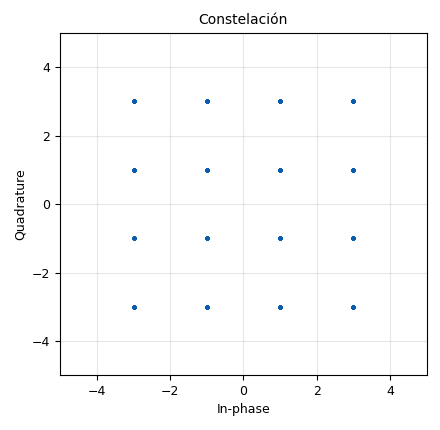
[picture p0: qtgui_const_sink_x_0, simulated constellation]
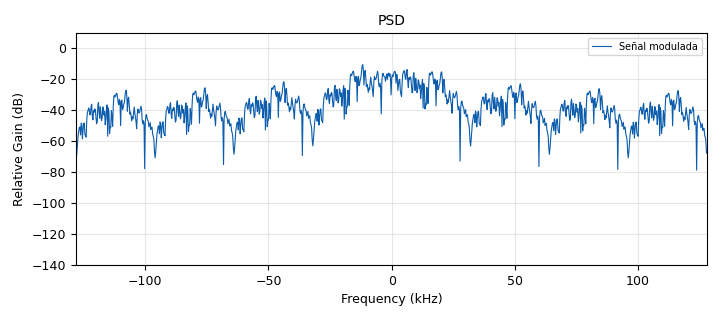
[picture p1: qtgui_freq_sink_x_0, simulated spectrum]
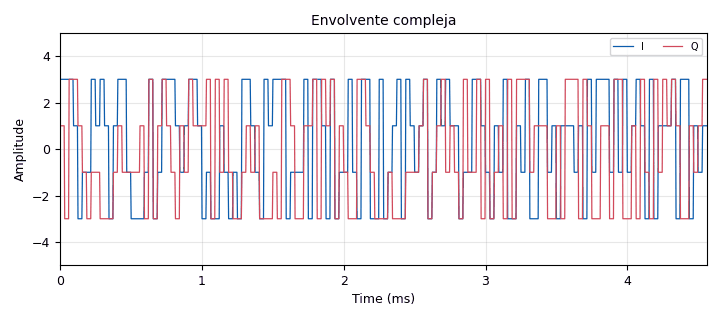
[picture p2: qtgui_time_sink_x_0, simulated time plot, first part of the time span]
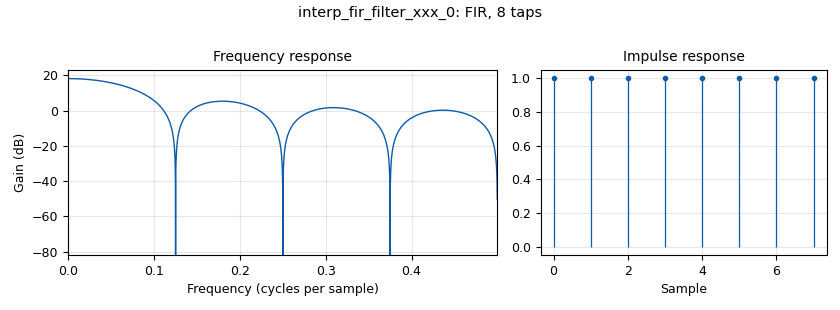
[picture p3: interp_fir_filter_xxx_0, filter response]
options:
  parameters:
    comment: GRC conceptual para OOK ASK BPSK QPSK 8PSK y 16QAM
    description: GRC conceptual para OOK ASK BPSK QPSK 8PSK y 16QAM
    generate_options: qt_gui
    id: Modulaciones_basadas_en_constelaciones
    output_language: python
    title: Modulaciones basadas en constelaciones
  states: {}

blocks:
- name: M
  id: variable
  parameters:
    value: len(tabla_de_verdad_constelacion)
  states: {}
- name: Rb
  id: variable
  parameters:
    value: Rs*bps
  states: {}
- name: Rs
  id: variable
  parameters:
    value: '32000'
  states: {}
- name: Sps
  id: variable
  parameters:
    value: '8'
  states: {}
- name: bps
  id: variable
  parameters:
    value: int(math.log(M,2))
  states: {}
- name: h
  id: variable
  parameters:
    value: '[1]*Sps'
  states: {}
- name: samp_rate
  id: variable
  parameters:
    value: Rs*Sps
  states: {}
- name: tabla_de_verdad_constelacion
  id: variable
  parameters:
    comment: Cambie esta tabla para OOK ASK BPSK QPSK 8PSK o 16QAM
    value: (-3-3j, -3-1j, -3+3j, -3+1j, -1-3j, -1-1j, -1+3j, -1+1j, 3-3j, 3-1j, 3+3j, 3+1j, 1-3j, 1-1j, 1+3j, 1+1j)
  states: {}
- name: analog_random_source_x_0
  id: analog_random_source_x
  parameters:
    max: '2'
    min: '0'
    num_samps: '1000'
    repeat: 'True'
    type: byte
  states: {}
- name: blocks_pack_k_bits_bb_0
  id: blocks_pack_k_bits_bb
  parameters:
    k: '8'
  states: {}
- name: blocks_packed_to_unpacked_xx_0
  id: blocks_packed_to_unpacked_xx
  parameters:
    bits_per_chunk: bps
    endianness: gr.GR_MSB_FIRST
    type: byte
  states: {}
- name: digital_chunks_to_symbols_xx_0
  id: digital_chunks_to_symbols_xx
  parameters:
    dimension: '1'
    in_type: byte
    out_type: complex
    symbol_table: tabla_de_verdad_constelacion
  states: {}
- name: import_0
  id: import
  parameters:
    imports: import math
  states: {}
- name: interp_fir_filter_xxx_0
  id: interp_fir_filter_xxx
  parameters:
    interp: Sps
    taps: h
    type: ccf
  states: {}
- name: qtgui_const_sink_x_0
  id: qtgui_const_sink_x
  parameters:
    grid: 'True'
    label1: '"Señal modulada"'
    legend: 'False'
    name: '"Constelación"'
    size: '2048'
    type: complex
    xmax: '5'
    xmin: '-5'
    ymax: '5'
    ymin: '-5'
  states: {}
- name: qtgui_freq_sink_x_0
  id: qtgui_freq_sink_x
  parameters:
    bw: samp_rate
    fc: '0'
    fftsize: '1024'
    grid: 'True'
    label1: Señal modulada
    name: '"PSD"'
    type: complex
  states: {}
- name: qtgui_time_sink_x_0
  id: qtgui_time_sink_x
  parameters:
    grid: 'True'
    label1: I
    label2: Q
    name: '"Envolvente compleja"'
    size: '2000'
    srate: samp_rate
    type: complex
    ymax: '5'
    ymin: '-5'
  states: {}
- name: throttle_0
  id: blocks_throttle2
  parameters:
    samples_per_second: samp_rate
    type: complex
  states: {}

connections:
- [analog_random_source_x_0, '0', blocks_pack_k_bits_bb_0, '0']
- [blocks_pack_k_bits_bb_0, '0', blocks_packed_to_unpacked_xx_0, '0']
- [blocks_packed_to_unpacked_xx_0, '0', digital_chunks_to_symbols_xx_0, '0']
- [digital_chunks_to_symbols_xx_0, '0', interp_fir_filter_xxx_0, '0']
- [interp_fir_filter_xxx_0, '0', throttle_0, '0']
- [throttle_0, '0', qtgui_const_sink_x_0, '0']
- [throttle_0, '0', qtgui_freq_sink_x_0, '0']
- [throttle_0, '0', qtgui_time_sink_x_0, '0']

metadata:
  file_format: 1
  grc_version: 3.10.12.0
